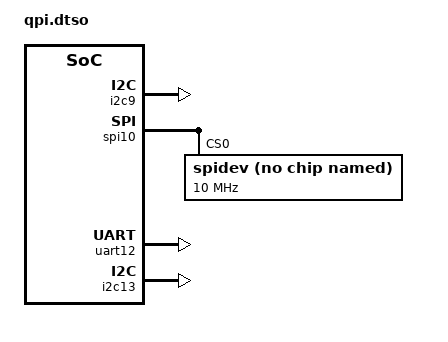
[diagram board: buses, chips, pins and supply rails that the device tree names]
// SPDX-License-Identifier: BSD-3-Clause
/*
 * Copyright (c) 2025 Thundercomm, Inc. All rights reserved.
 */
 /dts-v1/;
 /plugin/;

&i2c9 {
    status = "ok";
};

&spi10 {
    status = "ok";
    #address-cells = <1>;
    #size-cells = <0>;
    spidev@0 {
        compatible = "rohm,dh2228fv";
        spi-max-frequency = <10000000>;
        reg = <0>;
    };
};

&qup_uart12_rx {
	drive-strength = <2>;
	bias-pull-up;
};

&qup_uart12_tx {
	drive-strength = <2>;
	bias-disable;
};

&uart12 {
    status = "ok";
};

&beeper {
    status = "PWM1_SWITCH";
};

&uart4 {
    status = "UART4_SWITCH";
};


&i2c13 {
    status = "ok";
};

&spi14 {
    status = "disabled";
    #address-cells = <1>;
    #size-cells = <0>;
    spidev@0 {
        compatible = "rohm,dh2228fv";
        spi-max-frequency = <10000000>;
        reg = <0>;
    };
};

&scm {
    download_mode = <DOWNLOAD_MODE>;
};

&lsm6dso {
    status = "LSM6DSO_SWITCH";
};
